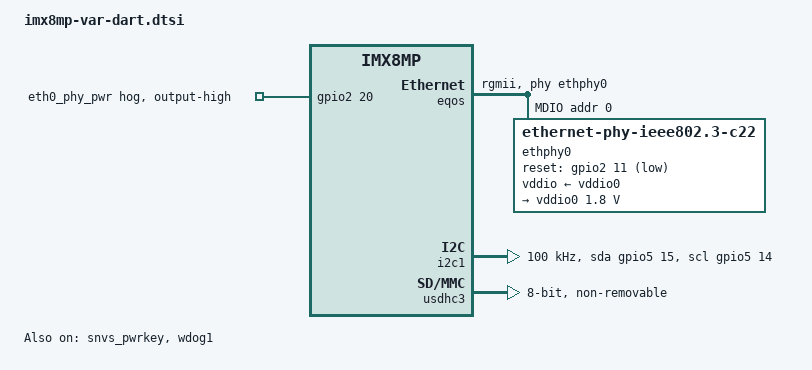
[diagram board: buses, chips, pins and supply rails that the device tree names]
// SPDX-License-Identifier: (GPL-2.0+ OR MIT)
/*
 * Copyright 2019 NXP
 * Copyright 2020-2023 Variscite Ltd.
 */

/dts-v1/;

#include <dt-bindings/usb/pd.h>
#include "imx8mp.dtsi"

/ {
	compatible = "variscite,imx8mp-var-dart", "fsl,imx8mp";

	aliases {
		ethernet0 = &eqos;
		ethernet1 = &fec;
	};
};

&eqos {
	pinctrl-names = "default";
	pinctrl-0 = <&pinctrl_eqos>;
	phy-mode = "rgmii";
	phy-handle = <&ethphy0>;
	status = "okay";

	mdio {
		compatible = "snps,dwmac-mdio";
		#address-cells = <1>;
		#size-cells = <0>;

		ethphy0: ethernet-phy@0 {
			compatible = "ethernet-phy-ieee802.3-c22";
			reg = <0>;
			at803x,eee-disabled;
			eee-broken-1000t;
			reset-gpios = <&gpio2 11 GPIO_ACTIVE_LOW>;
			reset-assert-us = <10000>;
			reset-deassert-us = <20000>;
			vddio-supply = <&vddio0>;

			vddio0: vddio-regulator {
				regulator-min-microvolt = <1800000>;
				regulator-max-microvolt = <1800000>;
			};
		};
	};
};

&i2c1 {
	clock-frequency = <100000>;
	pinctrl-names = "default", "gpio";
	pinctrl-0 = <&pinctrl_i2c1>;
	pinctrl-1 = <&pinctrl_i2c1_gpio>;
	scl-gpios = <&gpio5 14 GPIO_ACTIVE_HIGH>;
	sda-gpios = <&gpio5 15 GPIO_ACTIVE_HIGH>;
	status = "okay";
};

&snvs_pwrkey {
	status = "okay";
};

&usdhc3 {
	pinctrl-names = "default", "state_100mhz", "state_200mhz";
	pinctrl-0 = <&pinctrl_usdhc3>;
	pinctrl-1 = <&pinctrl_usdhc3_100mhz>;
	pinctrl-2 = <&pinctrl_usdhc3_200mhz>;
	bus-width = <8>;
	non-removable;
	status = "okay";
};

&wdog1 {
	pinctrl-names = "default";
	pinctrl-0 = <&pinctrl_wdog>;
	fsl,ext-reset-output;
	status = "okay";
};

&gpio2 {
	eth0_phy_pwr_hog {
		gpio-hog;
		gpios = <20 0>;
		output-high;
		line-name = "eth0_phy_pwr";
	};
};

&iomuxc {
	pinctrl_eqos: eqosgrp {
		fsl,pins = <
			MX8MP_IOMUXC_ENET_MDC__ENET_QOS_MDC				0x2
			MX8MP_IOMUXC_ENET_MDIO__ENET_QOS_MDIO				0x2
			MX8MP_IOMUXC_ENET_RD0__ENET_QOS_RGMII_RD0			0x90
			MX8MP_IOMUXC_ENET_RD1__ENET_QOS_RGMII_RD1			0x90
			MX8MP_IOMUXC_ENET_RD2__ENET_QOS_RGMII_RD2			0x90
			MX8MP_IOMUXC_ENET_RD3__ENET_QOS_RGMII_RD3			0x90
			MX8MP_IOMUXC_ENET_RXC__CCM_ENET_QOS_CLOCK_GENERATE_RX_CLK	0x90
			MX8MP_IOMUXC_ENET_RX_CTL__ENET_QOS_RGMII_RX_CTL			0x90
			MX8MP_IOMUXC_ENET_TD0__ENET_QOS_RGMII_TD0			0x16
			MX8MP_IOMUXC_ENET_TD1__ENET_QOS_RGMII_TD1			0x16
			MX8MP_IOMUXC_ENET_TD2__ENET_QOS_RGMII_TD2			0x16
			MX8MP_IOMUXC_ENET_TD3__ENET_QOS_RGMII_TD3			0x16
			MX8MP_IOMUXC_ENET_TX_CTL__ENET_QOS_RGMII_TX_CTL			0x16
			MX8MP_IOMUXC_ENET_TXC__CCM_ENET_QOS_CLOCK_GENERATE_TX_CLK	0x16
			MX8MP_IOMUXC_SD1_STROBE__GPIO2_IO11				0x10
			MX8MP_IOMUXC_SD2_WP__GPIO2_IO20					0x10
		>;
	};

	pinctrl_i2c1: i2c1grp {
		fsl,pins = <
			MX8MP_IOMUXC_I2C1_SCL__I2C1_SCL					0x400001c2
			MX8MP_IOMUXC_I2C1_SDA__I2C1_SDA					0x400001c2
		>;
	};

	pinctrl_i2c1_gpio: i2c1-gpiogrp {
		fsl,pins = <
			MX8MP_IOMUXC_I2C1_SCL__GPIO5_IO14				0x1c2
			MX8MP_IOMUXC_I2C1_SDA__GPIO5_IO15				0x1c2
		>;
	};

	pinctrl_usdhc3: usdhc3grp {
		fsl,pins = <
			MX8MP_IOMUXC_NAND_WE_B__USDHC3_CLK				0x190
			MX8MP_IOMUXC_NAND_WP_B__USDHC3_CMD				0x1d0
			MX8MP_IOMUXC_NAND_DATA04__USDHC3_DATA0				0x1d0
			MX8MP_IOMUXC_NAND_DATA05__USDHC3_DATA1				0x1d0
			MX8MP_IOMUXC_NAND_DATA06__USDHC3_DATA2				0x1d0
			MX8MP_IOMUXC_NAND_DATA07__USDHC3_DATA3				0x1d0
			MX8MP_IOMUXC_NAND_RE_B__USDHC3_DATA4				0x1d0
			MX8MP_IOMUXC_NAND_CE2_B__USDHC3_DATA5				0x1d0
			MX8MP_IOMUXC_NAND_CE3_B__USDHC3_DATA6				0x1d0
			MX8MP_IOMUXC_NAND_CLE__USDHC3_DATA7				0x1d0
			MX8MP_IOMUXC_NAND_CE1_B__USDHC3_STROBE				0x190
		>;
	};

	pinctrl_usdhc3_100mhz: usdhc3-100mhzgrp {
		fsl,pins = <
			MX8MP_IOMUXC_NAND_WE_B__USDHC3_CLK				0x194
			MX8MP_IOMUXC_NAND_WP_B__USDHC3_CMD				0x1d4
			MX8MP_IOMUXC_NAND_DATA04__USDHC3_DATA0				0x1d4
			MX8MP_IOMUXC_NAND_DATA05__USDHC3_DATA1				0x1d4
			MX8MP_IOMUXC_NAND_DATA06__USDHC3_DATA2				0x1d4
			MX8MP_IOMUXC_NAND_DATA07__USDHC3_DATA3				0x1d4
			MX8MP_IOMUXC_NAND_RE_B__USDHC3_DATA4				0x1d4
			MX8MP_IOMUXC_NAND_CE2_B__USDHC3_DATA5				0x1d4
			MX8MP_IOMUXC_NAND_CE3_B__USDHC3_DATA6				0x1d4
			MX8MP_IOMUXC_NAND_CLE__USDHC3_DATA7				0x1d4
			MX8MP_IOMUXC_NAND_CE1_B__USDHC3_STROBE				0x194
		>;
	};

	pinctrl_usdhc3_200mhz: usdhc3-200mhzgrp {
		fsl,pins = <
			MX8MP_IOMUXC_NAND_WE_B__USDHC3_CLK				0x196
			MX8MP_IOMUXC_NAND_WP_B__USDHC3_CMD				0x1d6
			MX8MP_IOMUXC_NAND_DATA04__USDHC3_DATA0				0x1d6
			MX8MP_IOMUXC_NAND_DATA05__USDHC3_DATA1				0x1d6
			MX8MP_IOMUXC_NAND_DATA06__USDHC3_DATA2				0x1d6
			MX8MP_IOMUXC_NAND_DATA07__USDHC3_DATA3				0x1d6
			MX8MP_IOMUXC_NAND_RE_B__USDHC3_DATA4				0x1d6
			MX8MP_IOMUXC_NAND_CE2_B__USDHC3_DATA5				0x1d6
			MX8MP_IOMUXC_NAND_CE3_B__USDHC3_DATA6				0x1d6
			MX8MP_IOMUXC_NAND_CLE__USDHC3_DATA7				0x1d6
			MX8MP_IOMUXC_NAND_CE1_B__USDHC3_STROBE				0x196
		>;
	};

	pinctrl_wdog: wdoggrp {
		fsl,pins = <
			MX8MP_IOMUXC_GPIO1_IO02__WDOG1_WDOG_B				0xc6
		>;
	};
};
